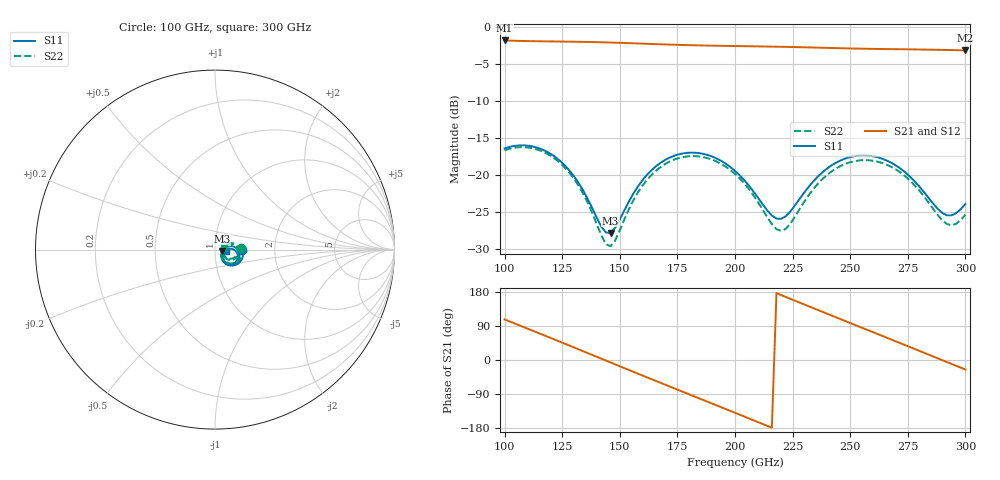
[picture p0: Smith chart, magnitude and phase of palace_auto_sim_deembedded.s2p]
! Created with skrf 1.11.0 (http://scikit-rf.org).
# GHz S DB R 50.0
!freq dBS11 angS11 dBS21 angS21 dBS12 angS12 dBS22 angS22
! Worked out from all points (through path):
!   101 points, 100 GHz to 300 GHz, reference 50 ohm
!   highest |S21| = -1.76 dB at 100 GHz (marker M1); lowest = -3.1 dB at 300 GHz (marker M2)
!   group delay of S21, straight-line fit = 6.84 ps
!   lowest |S11| = -27.8 dB at 146 GHz (marker M3), VSWR 1.08, Z = 54.1 - j1.12 ohm
!   |S11| at or under -10 dB: start of sweep to end of sweep
!   |S22| runs from -29.6 to -16.2 dB; largest |S21 - S12| = 9.3e-14
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100  -16.38 -1.3  -1.76 107.1  -1.76 107.1  -16.63 4.5
108  -15.96 -16.6  -1.84 87.6  -1.84 87.6  -16.21 -10.6
116  -16.48 -31.7  -1.88 68.0  -1.88 68.0  -16.74 -25.6
126  -18.63 -48.4  -1.92 43.3  -1.92 43.3  -18.93 -42.6
134  -22.02 -55.4  -1.96 23.4  -1.96 23.4  -22.44 -50.7
142  -26.97 -39.5  -2.01 3.4  -2.01 3.4  -28.17 -36.3
146  -27.82 -14.7  -2.05 -6.6  -2.05 -6.6  -29.61 -6.9
158  -21.47 13.5  -2.18 -36.4  -2.18 -36.4  -22.27 27.1
168  -18.26 2.2  -2.29 -61.0  -2.29 -61.0  -18.83 15.6
176  -17.15 -10.7  -2.37 -80.6  -2.37 -80.6  -17.65 2.6
184  -17.00 -24.1  -2.43 -100.1  -2.43 -100.1  -17.45 -10.9
200  -19.42 -46.9  -2.52 -139.3  -2.52 -139.3  -19.83 -34.4
210  -23.06 -49.0  -2.57 -163.9  -2.57 -163.9  -23.67 -38.5
220  -25.91 -20.0  -2.62 171.4  -2.62 171.4  -27.55 -7.7
234  -20.84 2.9  -2.72 136.8  -2.72 136.8  -21.88 22.2
244  -18.29 -7.2  -2.80 112.3  -2.80 112.3  -19.06 12.1
252  -17.42 -19.1  -2.86 92.7  -2.86 92.7  -18.10 0.2
260  -17.45 -31.6  -2.90 73.2  -2.90 73.2  -18.05 -12.4
268  -18.35 -43.1  -2.94 53.6  -2.94 53.6  -18.90 -24.2
284  -23.06 -50.9  -3.01 14.3  -3.01 14.3  -23.69 -34.2
292  -25.44 -31.6  -3.05 -5.4  -3.05 -5.4  -26.62 -15.5
300  -23.90 -8.1  -3.11 -25.1  -3.11 -25.1  -25.35 12.2
